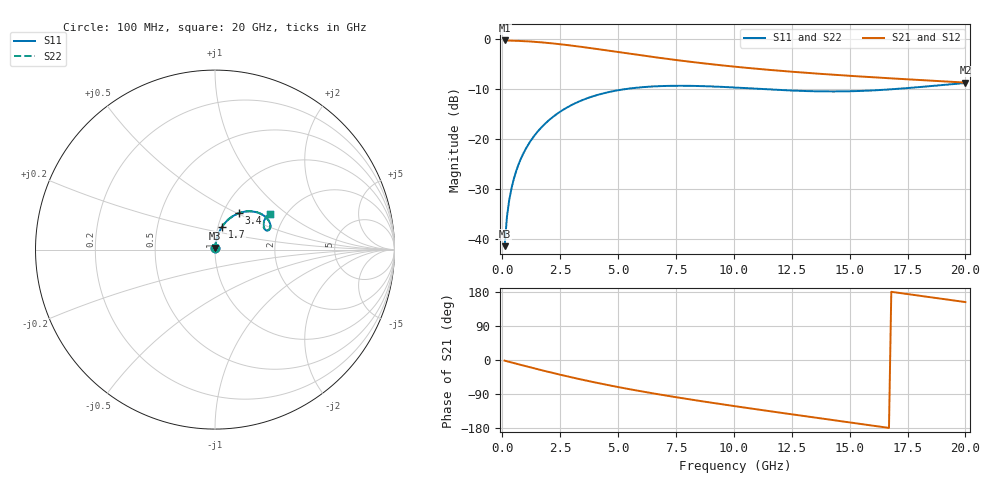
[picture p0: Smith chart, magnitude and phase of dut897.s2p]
! Touchstone file exported from HFSS 2024.1.0
!  File:  C:/UserFiles/LocalFiles/RDL_TSV_Batchsim/temp_RDL_TSV_897_1779933899.aedt
!  Generated:  10:21:17 AM May 28, 2026
!  Design:  RDL_TSV
!  Project:  temp_RDL_TSV_897_1779933899
!  Setup:  Setup1
!  Solution:  Sweep
! Variables:
!  dtsv = 5.14um
!  hbump = 3um
!  htsv = 54.43um
!  ldown = 670.26um
!  lrdl = 299.55um
!  p = 40
!  p1 = 53.12um
!  rhole = 10um
!  subl = 3208.98um
!  t = 450um
!  tdown = 4.73um
!  trdl = 3.76um
!  viad = 10um
!  wdown = 28.78um
!  wrdl = 11.01um
!  xbump = 18um
# GHz S MA R 50.000000
! Terminal data exported
! Port[1] = TM1_1_T1
! Port[2] = TM1_4_T1
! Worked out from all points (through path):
!   200 points, 100 MHz to 20 GHz, reference 50 ohm
!   highest |S21| = -0.30 dB at 100 MHz (marker M1); lowest = -8.7 dB at 20 GHz (marker M2)
!   group delay of S21, straight-line fit = 27.3 ps
!   lowest |S11| = -41.5 dB at 100 MHz (marker M3), VSWR 1.02, Z = 50.1 + j0.841 ohm
!   |S11| at or under -10 dB: start of sweep to 5.37 GHz; 11.13 GHz to 17.03 GHz (5.901 GHz wide, 41.9 % of centre)
!   |S22| runs from -41.6 to -8.8 dB; largest |S21 - S12| = 1.5e-14
!   S11 on the Smith chart (normalised r, x): 100 MHz: 1.00, +0.02; 1.7 GHz: 1.04, +0.27; 3.4 GHz: 1.19, +0.51; 20 GHz: 1.66, +0.75
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0.1  0.008428 85.1  0.9662 -1.7  0.9662 -1.7  0.008338 85.4
! Gamma 0 0 0 0
! Port Impedance 50 0 50 0
0.2  0.01654 84.7  0.9649 -3.3  0.9649 -3.3  0.01636 84.8
0.3  0.02441 84.0  0.9635 -4.9  0.9635 -4.9  0.02413 84.1
0.4  0.03217 83.4  0.9621 -6.5  0.9621 -6.5  0.03178 83.5
0.6  0.0476 82.2  0.9587 -9.7  0.9587 -9.7  0.04702 82.3
0.8  0.063 80.8  0.9546 -12.9  0.9546 -12.9  0.06223 80.9
1.1  0.086 78.3  0.9465 -17.6  0.9465 -17.6  0.08498 78.6
1.7  0.131 73.0  0.9246 -26.9  0.9246 -26.9  0.1297 73.4
2.5  0.1871 65.4  0.8858 -38.8  0.8858 -38.8  0.1856 65.9
3.4  0.2412 56.9  0.8347 -51.3  0.8347 -51.3  0.2398 57.4
3.5  0.2465 56.0  0.8288 -52.7  0.8288 -52.7  0.2451 56.5
4.2  0.279 49.7  0.787 -61.7  0.787 -61.7  0.2779 50.2
4.9  0.3037 44.0  0.746 -70.2  0.746 -70.2  0.3029 44.5
5.8  0.3251 37.5  0.6963 -80.5  0.6963 -80.5  0.3246 38.0
6.8  0.3371 31.5  0.6467 -91.1  0.6467 -91.1  0.337 31.9
8.4  0.3384 24.5  0.5805 -106.8  0.5805 -106.8  0.3387 24.9
10.1  0.3261 20.6  0.5262 -122.3  0.5262 -122.3  0.3268 20.9
11.7  0.311 19.9  0.4866 -136.4  0.4866 -136.4  0.312 20.3
13.4  0.2998 22.0  0.4534 -151.0  0.4534 -151.0  0.301 22.3
15  0.2995 25.7  0.4278 -164.7  0.4278 -164.7  0.3009 25.9
16.7  0.3123 29.6  0.4045 -179.2  0.4045 -179.2  0.3137 29.8
20  0.3625 32.8  0.366 152.9  0.366 152.9  0.3638 32.9
